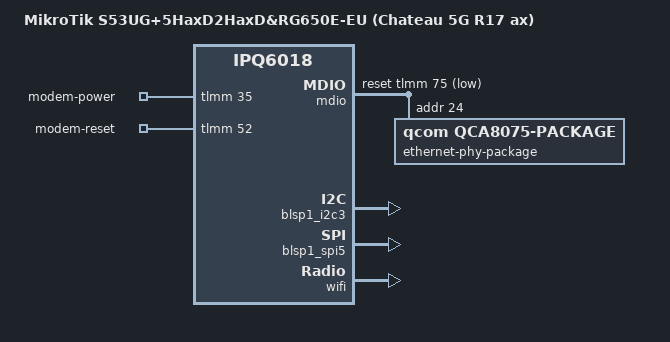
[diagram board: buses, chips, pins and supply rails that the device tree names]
// SPDX-License-Identifier: GPL-2.0-or-later OR MIT

/dts-v1/;

#include "ipq6010-mikrotik-c53-s53.dtsi"

/ {
	model = "MikroTik S53UG+5HaxD2HaxD&RG650E-EU (Chateau 5G R17 ax)";
	compatible = "mikrotik,chateau-5g-r17-ax", "qcom,ipq6018";

	aliases {
		label-mac-device = &switch_port4;
	};

	/*
	 * Modem power and reset, exported to userspace.
	 *
	 * These were a regulator-fixed with regulator-always-on before, which
	 * kept the modem powered but made it impossible to switch off. The
	 * RG650E does get wedged occasionally, and a power cycle is the only
	 * way back, so the lines are exported instead:
	 *
	 *   /sys/class/gpio/modem-power  1 = powered (default), 0 = off
	 *   /sys/class/gpio/modem-reset  pulse to reset without cutting power
	 *
	 * GPIO numbers come from MikroTik's own device tree, where GPIO 35 is
	 * named "mpcie-power-off" and GPIO 52 "lte-reset". Driving GPIO 35 low
	 * removes power, so the export is declared active high and named for
	 * what it enables rather than for what it cuts: 1 powers the modem.
	 * The RG650E sits on usb2; usb3 drives the external port.
	 */
	gpio-export {
		compatible = "gpio-export";
		#size-cells = <0>;

		modem-power {
			gpio-export,name = "modem-power";
			gpio-export,output = <1>;
			gpios = <&tlmm 35 GPIO_ACTIVE_HIGH>;
		};

		modem-reset {
			gpio-export,name = "modem-reset";
			gpio-export,output = <0>;
			gpios = <&tlmm 52 GPIO_ACTIVE_HIGH>;
		};
	};
};

&mdio {
	reset-gpios = <&tlmm 75 GPIO_ACTIVE_LOW>;

	/*
	 * The QCA8075 has to be described as a package; that is what sets up
	 * the shared PSGMII mode. Declared as plain PHY nodes the probe fails
	 * with -EINVAL.
	 */
	ethernet-phy-package@18 {
		compatible = "qcom,qca8075-package";
		#address-cells = <1>;
		#size-cells = <0>;
		reg = <0x18>;
		qcom,package-mode = "psgmii";

		/*
		 * Qualcomm's SSDK drives the PSGMII SerDes at 300 mV, while
		 * qca807x.c defaults to 600 mV without this property.
		 */
		qcom,tx-drive-strength-milliwatt = <300>;

		qca8075_0: ethernet-phy@18 {
			compatible = "ethernet-phy-ieee802.3-c22";
			reg = <0x18>;
		};

		qca8075_1: ethernet-phy@19 {
			compatible = "ethernet-phy-ieee802.3-c22";
			reg = <0x19>;
		};

		qca8075_2: ethernet-phy@1a {
			compatible = "ethernet-phy-ieee802.3-c22";
			reg = <0x1a>;
		};

		qca8075_3: ethernet-phy@1b {
			compatible = "ethernet-phy-ieee802.3-c22";
			reg = <0x1b>;
		};
	};
};

&board_leds {
	/*
	 * Signal strength bar. RouterOS drives these from the modem via its
	 * "modem-signal" trigger; under OpenWrt they are plain LEDs for
	 * userspace to drive.
	 */
	lte1 {
		color = <LED_COLOR_ID_GREEN>;
		function = LED_FUNCTION_MOBILE;
		function-enumerator = <1>;
		gpios = <&tlmm 27 GPIO_ACTIVE_HIGH>;
	};

	lte2 {
		color = <LED_COLOR_ID_GREEN>;
		function = LED_FUNCTION_MOBILE;
		function-enumerator = <2>;
		gpios = <&tlmm 26 GPIO_ACTIVE_HIGH>;
	};

	lte3 {
		color = <LED_COLOR_ID_GREEN>;
		function = LED_FUNCTION_MOBILE;
		function-enumerator = <3>;
		gpios = <&tlmm 25 GPIO_ACTIVE_HIGH>;
	};

	lte4 {
		color = <LED_COLOR_ID_GREEN>;
		function = LED_FUNCTION_MOBILE;
		function-enumerator = <4>;
		gpios = <&tlmm 24 GPIO_ACTIVE_HIGH>;
	};

	lte5 {
		color = <LED_COLOR_ID_GREEN>;
		function = LED_FUNCTION_MOBILE;
		function-enumerator = <5>;
		gpios = <&tlmm 23 GPIO_ACTIVE_HIGH>;
	};
};

&blsp1_i2c3 {
	status = "okay";
};

/*
 * MikroTik attaches a board sensor here (compatible "rb-spi-ts": board
 * temperature and PSU voltage). No driver exists for it, but the bus is
 * enabled so the sensor can be wired up later without a DTS change.
 */
&blsp1_spi5 {
	status = "okay";
};

/*
 * The socket labels run opposite to the PSGMII lane order: switch port 1 is
 * the socket labelled LAN4 and switch port 4 is LAN1. Verified socket by
 * socket on the device.
 *
 * MAC addresses come from RouterBOOT's hard_config, one per port as the
 * factory allocates them: hard_config reports mac_count 7 for this board,
 * base + 0..4 for lan1..lan5 and base + 5..6 for the two radios. Without
 * these cells the ports inherit the EDMA conduit's address, which qca_edma.c
 * falls back to setting with eth_hw_addr_random() when no port describes one,
 * so every port would get a fresh random address on each boot.
 */
&switch_port1 {
	label = "lan4";
	nvmem-cells = <&macaddr_hard 3>;
	nvmem-cell-names = "mac-address";
};

&switch_port2 {
	label = "lan3";
	nvmem-cells = <&macaddr_hard 2>;
	nvmem-cell-names = "mac-address";
};

&switch_port3 {
	label = "lan2";
	nvmem-cells = <&macaddr_hard 1>;
	nvmem-cell-names = "mac-address";
};

&switch_port4 {
	label = "lan1";
	nvmem-cells = <&macaddr_hard 0>;
	nvmem-cell-names = "mac-address";
};

&switch_port5 {
	label = "lan5";
	nvmem-cells = <&macaddr_hard 4>;
	nvmem-cell-names = "mac-address";
};

&wifi {
	qcom,ath11k-calibration-variant = "MikroTik-Chateau-5G-R17";
};
